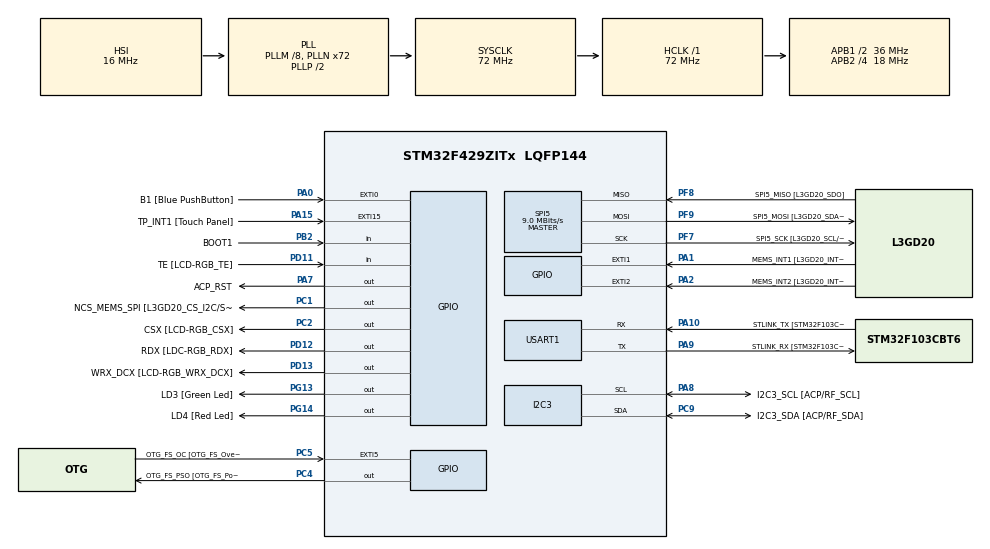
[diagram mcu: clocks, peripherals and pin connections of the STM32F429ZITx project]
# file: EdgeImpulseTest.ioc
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Mcu.Family=STM32F4
Mcu.Name=STM32F429ZITx
Mcu.Package=LQFP144
NVIC.PriorityGroup=NVIC_PRIORITYGROUP_0
NVIC.TIM7_IRQn=true\:0\:0\:false\:false\:true\:true\:true\:true
NVIC.USART1_IRQn=true\:0\:0\:false\:false\:true\:true\:true\:true
PA0/WKUP.GPIO_Label=B1 [Blue PushButton]
PA0/WKUP.GPIO_ModeDefaultEXTI=GPIO_MODE_EVT_RISING
PA0/WKUP.GPIO_PuPd=GPIO_NOPULL
PA0/WKUP.Signal=GPXTI0
PA1.GPIO_Label=MEMS_INT1 [L3GD20_INT1]
PA1.GPIO_ModeDefaultEXTI=GPIO_MODE_EVT_RISING
PA1.GPIO_PuPd=GPIO_NOPULL
PA1.Signal=GPXTI1
PA10.GPIO_Label=STLINK_TX [STM32F103CBT6_PA2]
PA10.Mode=Asynchronous
PA10.Signal=USART1_RX
PA11.GPIO_Label=R4
PA11.GPIO_Mode=GPIO_MODE_AF_PP
PA11.GPIO_PuPd=GPIO_NOPULL
PA11.GPIO_Speed=GPIO_SPEED_FREQ_LOW
PA11.Signal=LTDC_R4
PA12.GPIO_Label=R5
PA12.GPIO_Mode=GPIO_MODE_AF_PP
PA12.GPIO_PuPd=GPIO_NOPULL
PA12.GPIO_Speed=GPIO_SPEED_FREQ_LOW
PA12.Signal=LTDC_R5
PA13.GPIO_Label=SWDIO
PA13.Signal=SYS_JTMS-SWDIO
PA14.GPIO_Label=SWCLK
PA14.Signal=SYS_JTCK-SWCLK
PA15.GPIO_Label=TP_INT1 [Touch Panel]
PA15.GPIO_ModeDefaultEXTI=GPIO_MODE_EVT_RISING
PA15.GPIO_PuPd=GPIO_NOPULL
PA15.Signal=GPXTI15
PA2.GPIO_Label=MEMS_INT2 [L3GD20_INT2]
PA2.GPIO_ModeDefaultEXTI=GPIO_MODE_EVT_RISING
PA2.GPIO_PuPd=GPIO_NOPULL
PA2.Signal=GPXTI2
PA3.GPIO_Label=B5
PA3.GPIO_Mode=GPIO_MODE_AF_PP
PA3.GPIO_PuPd=GPIO_NOPULL
PA3.GPIO_Speed=GPIO_SPEED_FREQ_LOW
PA3.Signal=LTDC_B5
PA4.GPIO_Label=VSYNC
PA4.GPIO_Mode=GPIO_MODE_AF_PP
PA4.GPIO_PuPd=GPIO_NOPULL
PA4.GPIO_Speed=GPIO_SPEED_FREQ_LOW
PA4.Signal=LTDC_VSYNC
PA6.GPIO_Label=G2
PA6.GPIO_Mode=GPIO_MODE_AF_PP
PA6.GPIO_PuPd=GPIO_NOPULL
PA6.GPIO_Speed=GPIO_SPEED_FREQ_LOW
PA6.Signal=LTDC_G2
PA7.GPIO_Label=ACP_RST
PA7.GPIO_Mode=GPIO_MODE_OUTPUT_PP
PA7.GPIO_PuPd=GPIO_NOPULL
PA7.GPIO_Speed=GPIO_SPEED_FREQ_LOW
PA7.Signal=GPIO_Output
PA8.GPIO_Label=I2C3_SCL [ACP/RF_SCL]
PA8.GPIO_Mode=GPIO_MODE_AF_OD
PA8.GPIO_PuPd=GPIO_NOPULL
PA8.GPIO_Speed=GPIO_SPEED_FREQ_LOW
PA8.Mode=I2C
PA8.Signal=I2C3_SCL
PA9.GPIO_Label=STLINK_RX [STM32F103CBT6_PA3]
PA9.Mode=Asynchronous
PA9.Signal=USART1_TX
PB0.GPIO_Label=R3
PB0.GPIO_Mode=GPIO_MODE_AF_PP
PB0.GPIO_PuPd=GPIO_NOPULL
PB0.GPIO_Speed=GPIO_SPEED_FREQ_LOW
PB0.Signal=LTDC_R3
PB1.GPIO_Label=R6
PB1.GPIO_Mode=GPIO_MODE_AF_PP
PB1.GPIO_PuPd=GPIO_NOPULL
PB1.GPIO_Speed=GPIO_SPEED_FREQ_LOW
PB1.Signal=LTDC_R6
PB10.GPIO_Label=G4
PB10.GPIO_Mode=GPIO_MODE_AF_PP
PB10.GPIO_PuPd=GPIO_NOPULL
PB10.GPIO_Speed=GPIO_SPEED_FREQ_LOW
PB10.Signal=LTDC_G4
PB11.GPIO_Label=G5
PB11.GPIO_Mode=GPIO_MODE_AF_PP
PB11.GPIO_PuPd=GPIO_NOPULL
PB11.GPIO_Speed=GPIO_SPEED_FREQ_LOW
PB11.Signal=LTDC_G5
PB12.GPIO_Label=OTG_HS_ID
PB12.GPIO_Mode=GPIO_MODE_AF_PP
PB12.GPIO_PuPd=GPIO_NOPULL
PB12.GPIO_Speed=GPIO_SPEED_FREQ_LOW
PB12.Signal=USB_OTG_HS_ID
PB13.GPIO_Label=VBUS_HS
PB13.GPIO_Mode=GPIO_MODE_INPUT
PB13.GPIO_PuPd=GPIO_NOPULL
PB13.Signal=USB_OTG_HS_VBUS
PB14.GPIO_Label=OTG_HS_DM
PB14.GPIO_Mode=GPIO_MODE_AF_PP
PB14.GPIO_PuPd=GPIO_NOPULL
PB14.GPIO_Speed=GPIO_SPEED_FREQ_LOW
PB14.Signal=USB_OTG_HS_DM
PB15.GPIO_Label=OTG_HS_DP
PB15.GPIO_Mode=GPIO_MODE_AF_PP
PB15.GPIO_PuPd=GPIO_NOPULL
PB15.GPIO_Speed=GPIO_SPEED_FREQ_LOW
PB15.Signal=USB_OTG_HS_DP
PB2/BOOT1.GPIO_Label=BOOT1
PB2/BOOT1.GPIO_Mode=GPIO_MODE_INPUT
PB2/BOOT1.GPIO_PuPd=GPIO_NOPULL
PB2/BOOT1.Signal=GPIO_Input
PB5.GPIO_Label=SDCKE1
PB5.GPIO_Mode=GPIO_MODE_AF_PP
PB5.GPIO_PuPd=GPIO_NOPULL
PB5.GPIO_Speed=GPIO_SPEED_FREQ_VERY_HIGH
PB5.Signal=FMC_SDCKE1
PB6.GPIO_Label=SDNE1 [SDRAM_CS]
PB6.GPIO_Mode=GPIO_MODE_AF_PP
PB6.GPIO_PuPd=GPIO_NOPULL
PB6.GPIO_Speed=GPIO_SPEED_FREQ_VERY_HIGH
PB6.Signal=FMC_SDNE1
PB8.GPIO_Label=B6
PB8.GPIO_Mode=GPIO_MODE_AF_PP
PB8.GPIO_PuPd=GPIO_NOPULL
PB8.GPIO_Speed=GPIO_SPEED_FREQ_LOW
PB8.Signal=LTDC_B6
PB9.GPIO_Label=B7
PB9.GPIO_Mode=GPIO_MODE_AF_PP
PB9.GPIO_PuPd=GPIO_NOPULL
PB9.GPIO_Speed=GPIO_SPEED_FREQ_LOW
PB9.Signal=LTDC_B7
PC0.GPIO_Label=SDNWE
PC0.GPIO_Mode=GPIO_MODE_AF_PP
PC0.GPIO_PuPd=GPIO_NOPULL
PC0.GPIO_Speed=GPIO_SPEED_FREQ_VERY_HIGH
PC0.Signal=FMC_SDNWE
PC1.GPIO_Label=NCS_MEMS_SPI [L3GD20_CS_I2C/SPI]
PC1.GPIO_Mode=GPIO_MODE_OUTPUT_PP
PC1.GPIO_PuPd=GPIO_NOPULL
PC1.GPIO_Speed=GPIO_SPEED_FREQ_LOW
PC1.Signal=GPIO_Output
PC10.GPIO_Label=R2
PC10.GPIO_Mode=GPIO_MODE_AF_PP
PC10.GPIO_PuPd=GPIO_NOPULL
PC10.GPIO_Speed=GPIO_SPEED_FREQ_LOW
PC10.Signal=LTDC_R2
PC14/OSC32_IN.GPIO_Label=PC14-OSC32_IN
PC14/OSC32_IN.Mode=LSE-External-Oscillator
PC14/OSC32_IN.Signal=RCC_OSC32_IN
PC15/OSC32_OUT.GPIO_Label=PC15-OSC32_OUT
PC15/OSC32_OUT.Mode=LSE-External-Oscillator
PC15/OSC32_OUT.Signal=RCC_OSC32_OUT
PC2.GPIO_Label=CSX [LCD-RGB_CSX]
PC2.GPIO_Mode=GPIO_MODE_OUTPUT_PP
PC2.GPIO_PuPd=GPIO_NOPULL
PC2.GPIO_Speed=GPIO_SPEED_FREQ_LOW
PC2.Signal=GPIO_Output
PC4.GPIO_Label=OTG_FS_PSO [OTG_FS_PowerSwitchOn]
PC4.GPIO_Mode=GPIO_MODE_OUTPUT_PP
PC4.GPIO_PuPd=GPIO_NOPULL
PC4.GPIO_Speed=GPIO_SPEED_FREQ_LOW
PC4.Signal=GPIO_Output
PC5.GPIO_Label=OTG_FS_OC [OTG_FS_OverCurrent]
PC5.GPIO_ModeDefaultEXTI=GPIO_MODE_EVT_RISING
PC5.Signal=GPXTI5
PC6.GPIO_Label=HSYNC
PC6.GPIO_Mode=GPIO_MODE_AF_PP
PC6.GPIO_PuPd=GPIO_NOPULL
PC6.GPIO_Speed=GPIO_SPEED_FREQ_LOW
PC6.Signal=LTDC_HSYNC
PC7.GPIO_Label=G6
PC7.GPIO_Mode=GPIO_MODE_AF_PP
PC7.GPIO_PuPd=GPIO_NOPULL
PC7.GPIO_Speed=GPIO_SPEED_FREQ_LOW
PC7.Signal=LTDC_G6
PC9.GPIO_Label=I2C3_SDA [ACP/RF_SDA]
PC9.GPIO_Mode=GPIO_MODE_AF_OD
PC9.GPIO_PuPd=GPIO_NOPULL
PC9.GPIO_Speed=GPIO_SPEED_FREQ_LOW
PC9.Mode=I2C
PC9.Signal=I2C3_SDA
PD0.GPIO_Label=D2
PD0.GPIO_Mode=GPIO_MODE_AF_PP
PD0.GPIO_PuPd=GPIO_NOPULL
PD0.GPIO_Speed=GPIO_SPEED_FREQ_VERY_HIGH
PD0.Signal=FMC_D2_DA2
PD1.GPIO_Label=D3
PD1.GPIO_Mode=GPIO_MODE_AF_PP
PD1.GPIO_PuPd=GPIO_NOPULL
PD1.GPIO_Speed=GPIO_SPEED_FREQ_VERY_HIGH
PD1.Signal=FMC_D3_DA3
PD10.GPIO_Label=D15
PD10.GPIO_Mode=GPIO_MODE_AF_PP
PD10.GPIO_PuPd=GPIO_NOPULL
PD10.GPIO_Speed=GPIO_SPEED_FREQ_VERY_HIGH
PD10.Signal=FMC_D15_DA15
PD11.GPIO_Label=TE [LCD-RGB_TE]
PD11.GPIO_Mode=GPIO_MODE_INPUT
PD11.GPIO_PuPd=GPIO_NOPULL
PD11.Signal=GPIO_Input
PD12.GPIO_Label=RDX [LDC-RGB_RDX]
PD12.GPIO_Mode=GPIO_MODE_OUTPUT_PP
PD12.GPIO_PuPd=GPIO_NOPULL
PD12.GPIO_Speed=GPIO_SPEED_FREQ_LOW
PD12.Signal=GPIO_Output
PD13.GPIO_Label=WRX_DCX [LCD-RGB_WRX_DCX]
PD13.GPIO_Mode=GPIO_MODE_OUTPUT_PP
PD13.GPIO_PuPd=GPIO_NOPULL
PD13.GPIO_Speed=GPIO_SPEED_FREQ_LOW
PD13.Signal=GPIO_Output
PD14.GPIO_Label=D0
PD14.GPIO_Mode=GPIO_MODE_AF_PP
PD14.GPIO_PuPd=GPIO_NOPULL
PD14.GPIO_Speed=GPIO_SPEED_FREQ_VERY_HIGH
PD14.Signal=FMC_D0_DA0
PD15.GPIO_Label=D1
PD15.GPIO_Mode=GPIO_MODE_AF_PP
PD15.GPIO_PuPd=GPIO_NOPULL
PD15.GPIO_Speed=GPIO_SPEED_FREQ_VERY_HIGH
PD15.Signal=FMC_D1_DA1
PD3.GPIO_Label=G7
PD3.GPIO_Mode=GPIO_MODE_AF_PP
PD3.GPIO_PuPd=GPIO_NOPULL
PD3.GPIO_Speed=GPIO_SPEED_FREQ_LOW
PD3.Signal=LTDC_G7
PD6.GPIO_Label=B2
PD6.GPIO_Mode=GPIO_MODE_AF_PP
PD6.GPIO_PuPd=GPIO_NOPULL
PD6.GPIO_Speed=GPIO_SPEED_FREQ_LOW
PD6.Signal=LTDC_B2
PD8.GPIO_Label=D13
PD8.GPIO_Mode=GPIO_MODE_AF_PP
PD8.GPIO_PuPd=GPIO_NOPULL
PD8.GPIO_Speed=GPIO_SPEED_FREQ_VERY_HIGH
PD8.Signal=FMC_D13_DA13
PD9.GPIO_Label=D14
PD9.GPIO_Mode=GPIO_MODE_AF_PP
PD9.GPIO_PuPd=GPIO_NOPULL
PD9.GPIO_Speed=GPIO_SPEED_FREQ_VERY_HIGH
PD9.Signal=FMC_D14_DA14
PE0.GPIO_Label=NBL0 [SDRAM_LDQM]
PE0.GPIO_Mode=GPIO_MODE_AF_PP
PE0.GPIO_PuPd=GPIO_NOPULL
PE0.GPIO_Speed=GPIO_SPEED_FREQ_VERY_HIGH
PE0.Signal=FMC_NBL0
PE1.GPIO_Label=NBL1 [SDRAM_UDQM]
PE1.GPIO_Mode=GPIO_MODE_AF_PP
PE1.GPIO_PuPd=GPIO_NOPULL
PE1.GPIO_Speed=GPIO_SPEED_FREQ_VERY_HIGH
PE1.Signal=FMC_NBL1
PE10.GPIO_Label=D7
PE10.GPIO_Mode=GPIO_MODE_AF_PP
PE10.GPIO_PuPd=GPIO_NOPULL
PE10.GPIO_Speed=GPIO_SPEED_FREQ_VERY_HIGH
PE10.Signal=FMC_D7_DA7
PE11.GPIO_Label=D8
PE11.GPIO_Mode=GPIO_MODE_AF_PP
PE11.GPIO_PuPd=GPIO_NOPULL
PE11.GPIO_Speed=GPIO_SPEED_FREQ_VERY_HIGH
PE11.Signal=FMC_D8_DA8
PE12.GPIO_Label=D9
PE12.GPIO_Mode=GPIO_MODE_AF_PP
PE12.GPIO_PuPd=GPIO_NOPULL
PE12.GPIO_Speed=GPIO_SPEED_FREQ_VERY_HIGH
PE12.Signal=FMC_D9_DA9
PE13.GPIO_Label=D10
PE13.GPIO_Mode=GPIO_MODE_AF_PP
PE13.GPIO_PuPd=GPIO_NOPULL
PE13.GPIO_Speed=GPIO_SPEED_FREQ_VERY_HIGH
PE13.Signal=FMC_D10_DA10
PE14.GPIO_Label=D11
PE14.GPIO_Mode=GPIO_MODE_AF_PP
PE14.GPIO_PuPd=GPIO_NOPULL
PE14.GPIO_Speed=GPIO_SPEED_FREQ_VERY_HIGH
PE14.Signal=FMC_D11_DA11
PE15.GPIO_Label=D12
PE15.GPIO_Mode=GPIO_MODE_AF_PP
PE15.GPIO_PuPd=GPIO_NOPULL
PE15.GPIO_Speed=GPIO_SPEED_FREQ_VERY_HIGH
PE15.Signal=FMC_D12_DA12
PE7.GPIO_Label=D4
PE7.GPIO_Mode=GPIO_MODE_AF_PP
PE7.GPIO_PuPd=GPIO_NOPULL
PE7.GPIO_Speed=GPIO_SPEED_FREQ_VERY_HIGH
PE7.Signal=FMC_D4_DA4
PE8.GPIO_Label=D5
PE8.GPIO_Mode=GPIO_MODE_AF_PP
PE8.GPIO_PuPd=GPIO_NOPULL
PE8.GPIO_Speed=GPIO_SPEED_FREQ_VERY_HIGH
PE8.Signal=FMC_D5_DA5
PE9.GPIO_Label=D6
PE9.GPIO_Mode=GPIO_MODE_AF_PP
PE9.GPIO_PuPd=GPIO_NOPULL
PE9.GPIO_Speed=GPIO_SPEED_FREQ_VERY_HIGH
PE9.Signal=FMC_D6_DA6
PF0.GPIO_Label=A0
PF0.GPIO_Mode=GPIO_MODE_AF_PP
PF0.GPIO_PuPd=GPIO_NOPULL
PF0.GPIO_Speed=GPIO_SPEED_FREQ_VERY_HIGH
PF0.Signal=FMC_A0
PF1.GPIO_Label=A1
PF1.GPIO_Mode=GPIO_MODE_AF_PP
PF1.GPIO_PuPd=GPIO_NOPULL
PF1.GPIO_Speed=GPIO_SPEED_FREQ_VERY_HIGH
PF1.Signal=FMC_A1
PF10.GPIO_Label=ENABLE [LCD-RGB_ENABLE]
PF10.GPIO_Mode=GPIO_MODE_AF_PP
PF10.GPIO_PuPd=GPIO_NOPULL
PF10.GPIO_Speed=GPIO_SPEED_FREQ_LOW
PF10.Signal=LTDC_DE
PF11.GPIO_Label=SDNRAS
PF11.GPIO_Mode=GPIO_MODE_AF_PP
PF11.GPIO_PuPd=GPIO_NOPULL
PF11.GPIO_Speed=GPIO_SPEED_FREQ_VERY_HIGH
PF11.Signal=FMC_SDNRAS
PF12.GPIO_Label=A6
PF12.GPIO_Mode=GPIO_MODE_AF_PP
PF12.GPIO_PuPd=GPIO_NOPULL
PF12.GPIO_Speed=GPIO_SPEED_FREQ_VERY_HIGH
PF12.Signal=FMC_A6
PF13.GPIO_Label=A7
PF13.GPIO_Mode=GPIO_MODE_AF_PP
PF13.GPIO_PuPd=GPIO_NOPULL
PF13.GPIO_Speed=GPIO_SPEED_FREQ_VERY_HIGH
PF13.Signal=FMC_A7
PF14.GPIO_Label=A8
PF14.GPIO_Mode=GPIO_MODE_AF_PP
PF14.GPIO_PuPd=GPIO_NOPULL
PF14.GPIO_Speed=GPIO_SPEED_FREQ_VERY_HIGH
PF14.Signal=FMC_A8
PF15.GPIO_Label=A9
PF15.GPIO_Mode=GPIO_MODE_AF_PP
PF15.GPIO_PuPd=GPIO_NOPULL
PF15.GPIO_Speed=GPIO_SPEED_FREQ_VERY_HIGH
PF15.Signal=FMC_A9
PF2.GPIO_Label=A2
PF2.GPIO_Mode=GPIO_MODE_AF_PP
PF2.GPIO_PuPd=GPIO_NOPULL
PF2.GPIO_Speed=GPIO_SPEED_FREQ_VERY_HIGH
PF2.Signal=FMC_A2
PF3.GPIO_Label=A3
PF3.GPIO_Mode=GPIO_MODE_AF_PP
PF3.GPIO_PuPd=GPIO_NOPULL
PF3.GPIO_Speed=GPIO_SPEED_FREQ_VERY_HIGH
PF3.Signal=FMC_A3
PF4.GPIO_Label=A4
PF4.GPIO_Mode=GPIO_MODE_AF_PP
PF4.GPIO_PuPd=GPIO_NOPULL
PF4.GPIO_Speed=GPIO_SPEED_FREQ_VERY_HIGH
PF4.Signal=FMC_A4
PF5.GPIO_Label=A5
PF5.GPIO_Mode=GPIO_MODE_AF_PP
PF5.GPIO_PuPd=GPIO_NOPULL
PF5.GPIO_Speed=GPIO_SPEED_FREQ_VERY_HIGH
PF5.Signal=FMC_A5
PF7.GPIO_Label=SPI5_SCK [L3GD20_SCL/SPC]
PF7.GPIO_Mode=GPIO_MODE_AF_PP
PF7.GPIO_PuPd=GPIO_NOPULL
PF7.GPIO_Speed=GPIO_SPEED_FREQ_LOW
PF7.Mode=Full_Duplex_Master
PF7.Signal=SPI5_SCK
PF8.GPIO_Label=SPI5_MISO [L3GD20_SDO]
PF8.GPIO_Mode=GPIO_MODE_AF_PP
PF8.GPIO_PuPd=GPIO_NOPULL
PF8.GPIO_Speed=GPIO_SPEED_FREQ_LOW
PF8.Mode=Full_Duplex_Master
PF8.Signal=SPI5_MISO
PF9.GPIO_Label=SPI5_MOSI [L3GD20_SDA/SDI/SDO]
PF9.GPIO_Mode=GPIO_MODE_AF_PP
PF9.GPIO_PuPd=GPIO_NOPULL
PF9.GPIO_Speed=GPIO_SPEED_FREQ_LOW
PF9.Mode=Full_Duplex_Master
PF9.Signal=SPI5_MOSI
PG0.GPIO_Label=A10
PG0.GPIO_Mode=GPIO_MODE_AF_PP
PG0.GPIO_PuPd=GPIO_NOPULL
PG0.GPIO_Speed=GPIO_SPEED_FREQ_VERY_HIGH
PG0.Signal=FMC_A10
PG1.GPIO_Label=A11
PG1.GPIO_Mode=GPIO_MODE_AF_PP
PG1.GPIO_PuPd=GPIO_NOPULL
PG1.GPIO_Speed=GPIO_SPEED_FREQ_VERY_HIGH
PG1.Signal=FMC_A11
PG10.GPIO_Label=G3
PG10.GPIO_Mode=GPIO_MODE_AF_PP
PG10.GPIO_PuPd=GPIO_NOPULL
PG10.GPIO_Speed=GPIO_SPEED_FREQ_LOW
PG10.Signal=LTDC_G3
PG11.GPIO_Label=B3
PG11.GPIO_Mode=GPIO_MODE_AF_PP
PG11.GPIO_PuPd=GPIO_NOPULL
PG11.GPIO_Speed=GPIO_SPEED_FREQ_LOW
PG11.Signal=LTDC_B3
PG12.GPIO_Label=B4
PG12.GPIO_Mode=GPIO_MODE_AF_PP
PG12.GPIO_PuPd=GPIO_NOPULL
PG12.GPIO_Speed=GPIO_SPEED_FREQ_LOW
PG12.Signal=LTDC_B4
PG13.GPIO_Label=LD3 [Green Led]
PG13.GPIO_Mode=GPIO_MODE_OUTPUT_PP
PG13.GPIO_PuPd=GPIO_NOPULL
PG13.GPIO_Speed=GPIO_SPEED_FREQ_LOW
PG13.Signal=GPIO_Output
PG14.GPIO_Label=LD4 [Red Led]
PG14.GPIO_Mode=GPIO_MODE_OUTPUT_PP
PG14.GPIO_PuPd=GPIO_NOPULL
PG14.GPIO_Speed=GPIO_SPEED_FREQ_LOW
PG14.Signal=GPIO_Output
PG15.GPIO_Label=SDNCAS
PG15.GPIO_Mode=GPIO_MODE_AF_PP
PG15.GPIO_PuPd=GPIO_NOPULL
PG15.GPIO_Speed=GPIO_SPEED_FREQ_VERY_HIGH
PG15.Signal=FMC_SDNCAS
PG4.GPIO_Label=BA0
PG4.GPIO_Mode=GPIO_MODE_AF_PP
PG4.GPIO_PuPd=GPIO_NOPULL
PG4.GPIO_Speed=GPIO_SPEED_FREQ_VERY_HIGH
PG4.Signal=FMC_A14_BA0
PG5.GPIO_Label=BA1
PG5.GPIO_Mode=GPIO_MODE_AF_PP
PG5.GPIO_PuPd=GPIO_NOPULL
PG5.GPIO_Speed=GPIO_SPEED_FREQ_VERY_HIGH
PG5.Signal=FMC_A15_BA1
PG6.GPIO_Label=R7
PG6.GPIO_Mode=GPIO_MODE_AF_PP
PG6.GPIO_PuPd=GPIO_NOPULL
PG6.GPIO_Speed=GPIO_SPEED_FREQ_LOW
PG6.Signal=LTDC_R7
PG7.GPIO_Label=DOTCLK [LCT-RGB_DOTCLK]
PG7.GPIO_Mode=GPIO_MODE_AF_PP
PG7.GPIO_PuPd=GPIO_NOPULL
PG7.GPIO_Speed=GPIO_SPEED_FREQ_LOW
PG7.Signal=LTDC_CLK
PG8.GPIO_Label=SDCLK
PG8.GPIO_Mode=GPIO_MODE_AF_PP
PG8.GPIO_PuPd=GPIO_NOPULL
PG8.GPIO_Speed=GPIO_SPEED_FREQ_VERY_HIGH
PG8.Signal=FMC_SDCLK
PH0/OSC_IN.GPIO_Label=PH0-OSC_IN
PH0/OSC_IN.Mode=HSE-External-Oscillator
PH0/OSC_IN.Signal=RCC_OSC_IN
PH1/OSC_OUT.GPIO_Label=PH1-OSC_OUT
PH1/OSC_OUT.Mode=HSE-External-Oscillator
PH1/OSC_OUT.Signal=RCC_OSC_OUT
ProjectManager.HeapSize=0x200
ProjectManager.StackSize=0x400
ProjectManager.TargetToolchain=STM32CubeIDE
RCC.48MHZClocksFreq_Value=20571428.57142857
RCC.AHBFreq_Value=72000000
RCC.APB1CLKDivider=RCC_HCLK_DIV2
RCC.APB1Freq_Value=36000000
RCC.APB1TimFreq_Value=72000000
RCC.APB2CLKDivider=RCC_HCLK_DIV4
RCC.APB2Freq_Value=18000000
RCC.APB2TimFreq_Value=36000000
RCC.CortexFreq_Value=72000000
RCC.HCLKFreq_Value=72000000
RCC.HSE_VALUE=8000000
RCC.HSI_VALUE=16000000
RCC.PLLM=8
RCC.PLLN=72
RCC.PLLQ=7
RCC.SYSCLKFreq_VALUE=72000000
RCC.SYSCLKSource=RCC_SYSCLKSOURCE_PLLCLK
RCC.VCOOutputFreq_Value=144000000
SH.FMC_A0.0=FMC_A0
SH.FMC_A1.0=FMC_A1
SH.FMC_A10.0=FMC_A10
SH.FMC_A11.0=FMC_A11
SH.FMC_A14_BA0.0=FMC_BA0
SH.FMC_A15_BA1.0=FMC_BA1
SH.FMC_A2.0=FMC_A2
SH.FMC_A3.0=FMC_A3
SH.FMC_A4.0=FMC_A4
SH.FMC_A5.0=FMC_A5
SH.FMC_A6.0=FMC_A6
SH.FMC_A7.0=FMC_A7
SH.FMC_A8.0=FMC_A8
SH.FMC_A9.0=FMC_A9
SH.FMC_D0_DA0.0=FMC_D0
SH.FMC_D10_DA10.0=FMC_D10
SH.FMC_D11_DA11.0=FMC_D11
SH.FMC_D12_DA12.0=FMC_D12
SH.FMC_D13_DA13.0=FMC_D13
SH.FMC_D14_DA14.0=FMC_D14
SH.FMC_D15_DA15.0=FMC_D15
SH.FMC_D1_DA1.0=FMC_D1
SH.FMC_D2_DA2.0=FMC_D2
SH.FMC_D3_DA3.0=FMC_D3
SH.FMC_D4_DA4.0=FMC_D4
SH.FMC_D5_DA5.0=FMC_D5
SH.FMC_D6_DA6.0=FMC_D6
SH.FMC_D7_DA7.0=FMC_D7
SH.FMC_D8_DA8.0=FMC_D8
SH.FMC_D9_DA9.0=FMC_D9
SH.FMC_NBL0.0=FMC_NBL0
SH.FMC_NBL1.0=FMC_NBL1
SH.FMC_SDCLK.0=FMC_SDCLK
SH.FMC_SDNCAS.0=FMC_SDNCAS
SH.FMC_SDNRAS.0=FMC_SDNRAS
SH.FMC_SDNWE.0=FMC_SDNWE
SPI5.CalculateBaudRate=9.0 MBits/s
SPI5.Direction=SPI_DIRECTION_2LINES
SPI5.Mode=SPI_MODE_MASTER
SPI5.VirtualType=VM_MASTER
TIM7.Period=7200
TIM7.Prescaler=101-1
USART1.VirtualMode=VM_ASYNC
VP_TIM7_VS_ClockSourceINT.Mode=Enable_Timer
board=STM32F429I-DISC1

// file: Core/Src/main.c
/* USER CODE BEGIN Header */
/**
  ******************************************************************************
  * @file           : main.c
  * @brief          : Main program body
  ******************************************************************************
  * @attention
  *
  * Copyright (c) 2022 STMicroelectronics.
  * All rights reserved.
  *
  * This software is licensed under terms that can be found in the LICENSE file
  * in the root directory of this software component.
  * If no LICENSE file comes with this software, it is provided AS-IS.
  *
  ******************************************************************************
  */
/* USER CODE END Header */
#include "main.h"

/* USER CODE BEGIN Includes */
#include "retarget.h"
#include "stm32f4xx_hal.h"
#include "accel_LIS3DH_driver.h"
#include "gyro_I3G450D_driver.h"
/* USER CODE END Includes */

 I2C_HandleTypeDef hi2c3;

SPI_HandleTypeDef hspi5;

TIM_HandleTypeDef htim7;

UART_HandleTypeDef huart1;

void SystemClock_Config(void);
static void MX_GPIO_Init(void);
static void MX_USART1_UART_Init(void);
static void MX_I2C3_Init(void);
static void MX_SPI5_Init(void);
static void MX_TIM7_Init(void);

/* USER CODE BEGIN 0 */
int sampleAccelFlag = 0;
/* USER CODE END 0 */

int main(void)
{

  /* MCU Configuration--------------------------------------------------------*/

  /* Reset of all peripherals, Initializes the Flash interface and the Systick. */
  HAL_Init();

  /* Configure the system clock */
  SystemClock_Config();

  /* Initialize all configured peripherals */
  MX_GPIO_Init();
  MX_USART1_UART_Init();
  MX_I2C3_Init();
  MX_SPI5_Init();
  MX_TIM7_Init();
  /* USER CODE BEGIN 2 */
  RetargetInit(&huart1);
  I3G450D_Init(&hspi5);
  Lis3dhInit(&hi2c3);

  if (HAL_TIM_Base_Start_IT(&htim7) != HAL_OK)
    {
      /* Counter Enable Error */
      Error_Handler();
    }
  /* USER CODE END 2 */

  /* Infinite loop */
  while (1)
  {

    /* USER CODE BEGIN 3 */
	  if(sampleAccelFlag){
		Lis3dhGetAcc();
		int16_t acelX,acelY,acelZ;
		AccelGetData(&acelX, &acelY, &acelZ);
		printf("%d,%d,%d \n",acelX,acelY,acelZ);
		sampleAccelFlag = 0;
	  }
  }
  /* USER CODE END 3 */
}

void SystemClock_Config(void)
{
  RCC_OscInitTypeDef RCC_OscInitStruct = {0};
  RCC_ClkInitTypeDef RCC_ClkInitStruct = {0};

  /** Configure the main internal regulator output voltage
  */
  __HAL_RCC_PWR_CLK_ENABLE();
  __HAL_PWR_VOLTAGESCALING_CONFIG(PWR_REGULATOR_VOLTAGE_SCALE3);

  /** Initializes the RCC Oscillators according to the specified parameters
  * in the RCC_OscInitTypeDef structure.
  */
  RCC_OscInitStruct.OscillatorType = RCC_OSCILLATORTYPE_HSI;
  RCC_OscInitStruct.HSIState = RCC_HSI_ON;
  RCC_OscInitStruct.HSICalibrationValue = RCC_HSICALIBRATION_DEFAULT;
  RCC_OscInitStruct.PLL.PLLState = RCC_PLL_ON;
  RCC_OscInitStruct.PLL.PLLSource = RCC_PLLSOURCE_HSI;
  RCC_OscInitStruct.PLL.PLLM = 8;
  RCC_OscInitStruct.PLL.PLLN = 72;
  RCC_OscInitStruct.PLL.PLLP = RCC_PLLP_DIV2;
  RCC_OscInitStruct.PLL.PLLQ = 7;
  if (HAL_RCC_OscConfig(&RCC_OscInitStruct) != HAL_OK)
  {
    Error_Handler();
  }

  /** Initializes the CPU, AHB and APB buses clocks
  */
  RCC_ClkInitStruct.ClockType = RCC_CLOCKTYPE_HCLK|RCC_CLOCKTYPE_SYSCLK
                              |RCC_CLOCKTYPE_PCLK1|RCC_CLOCKTYPE_PCLK2;
  RCC_ClkInitStruct.SYSCLKSource = RCC_SYSCLKSOURCE_PLLCLK;
  RCC_ClkInitStruct.AHBCLKDivider = RCC_SYSCLK_DIV1;
  RCC_ClkInitStruct.APB1CLKDivider = RCC_HCLK_DIV2;
  RCC_ClkInitStruct.APB2CLKDivider = RCC_HCLK_DIV4;

  if (HAL_RCC_ClockConfig(&RCC_ClkInitStruct, FLASH_LATENCY_2) != HAL_OK)
  {
    Error_Handler();
  }
}

static void MX_I2C3_Init(void)
{

  hi2c3.Instance = I2C3;
  hi2c3.Init.ClockSpeed = 100000;
  hi2c3.Init.DutyCycle = I2C_DUTYCYCLE_2;
  hi2c3.Init.OwnAddress1 = 0;
  hi2c3.Init.AddressingMode = I2C_ADDRESSINGMODE_7BIT;
  hi2c3.Init.DualAddressMode = I2C_DUALADDRESS_DISABLE;
  hi2c3.Init.OwnAddress2 = 0;
  hi2c3.Init.GeneralCallMode = I2C_GENERALCALL_DISABLE;
  hi2c3.Init.NoStretchMode = I2C_NOSTRETCH_DISABLE;
  if (HAL_I2C_Init(&hi2c3) != HAL_OK)
  {
    Error_Handler();
  }

  /** Configure Analogue filter
  */
  if (HAL_I2CEx_ConfigAnalogFilter(&hi2c3, I2C_ANALOGFILTER_ENABLE) != HAL_OK)
  {
    Error_Handler();
  }

  /** Configure Digital filter
  */
  if (HAL_I2CEx_ConfigDigitalFilter(&hi2c3, 0) != HAL_OK)
  {
    Error_Handler();
  }

}

static void MX_SPI5_Init(void)
{

  /* SPI5 parameter configuration*/
  hspi5.Instance = SPI5;
  hspi5.Init.Mode = SPI_MODE_MASTER;
  hspi5.Init.Direction = SPI_DIRECTION_2LINES;
  hspi5.Init.DataSize = SPI_DATASIZE_8BIT;
  hspi5.Init.CLKPolarity = SPI_POLARITY_LOW;
  hspi5.Init.CLKPhase = SPI_PHASE_1EDGE;
  hspi5.Init.NSS = SPI_NSS_SOFT;
  hspi5.Init.BaudRatePrescaler = SPI_BAUDRATEPRESCALER_2;
  hspi5.Init.FirstBit = SPI_FIRSTBIT_MSB;
  hspi5.Init.TIMode = SPI_TIMODE_DISABLE;
  hspi5.Init.CRCCalculation = SPI_CRCCALCULATION_DISABLE;
  hspi5.Init.CRCPolynomial = 10;
  if (HAL_SPI_Init(&hspi5) != HAL_OK)
  {
    Error_Handler();
  }

}

static void MX_TIM7_Init(void)
{

  TIM_MasterConfigTypeDef sMasterConfig = {0};

  htim7.Instance = TIM7;
  htim7.Init.Prescaler = 101-1;
  htim7.Init.CounterMode = TIM_COUNTERMODE_UP;
  htim7.Init.Period = 7200;
  htim7.Init.AutoReloadPreload = TIM_AUTORELOAD_PRELOAD_DISABLE;
  if (HAL_TIM_Base_Init(&htim7) != HAL_OK)
  {
    Error_Handler();
  }
  sMasterConfig.MasterOutputTrigger = TIM_TRGO_RESET;
  sMasterConfig.MasterSlaveMode = TIM_MASTERSLAVEMODE_DISABLE;
  if (HAL_TIMEx_MasterConfigSynchronization(&htim7, &sMasterConfig) != HAL_OK)
  {
    Error_Handler();
  }

}

static void MX_USART1_UART_Init(void)
{

  huart1.Instance = USART1;
  huart1.Init.BaudRate = 115200;
  huart1.Init.WordLength = UART_WORDLENGTH_8B;
  huart1.Init.StopBits = UART_STOPBITS_1;
  huart1.Init.Parity = UART_PARITY_NONE;
  huart1.Init.Mode = UART_MODE_TX_RX;
  huart1.Init.HwFlowCtl = UART_HWCONTROL_NONE;
  huart1.Init.OverSampling = UART_OVERSAMPLING_16;
  if (HAL_UART_Init(&huart1) != HAL_OK)
  {
    Error_Handler();
  }

}

static void MX_GPIO_Init(void)
{
  GPIO_InitTypeDef GPIO_InitStruct = {0};

  /* GPIO Ports Clock Enable */
  __HAL_RCC_GPIOC_CLK_ENABLE();
  __HAL_RCC_GPIOF_CLK_ENABLE();
  __HAL_RCC_GPIOH_CLK_ENABLE();
  __HAL_RCC_GPIOA_CLK_ENABLE();
  __HAL_RCC_GPIOB_CLK_ENABLE();
  __HAL_RCC_GPIOG_CLK_ENABLE();
  __HAL_RCC_GPIOE_CLK_ENABLE();
  __HAL_RCC_GPIOD_CLK_ENABLE();

  /*Configure GPIO pin Output Level */
  HAL_GPIO_WritePin(GPIOC, NCS_MEMS_SPI_Pin|CSX_Pin|OTG_FS_PSO_Pin, GPIO_PIN_RESET);

  /*Configure GPIO pin Output Level */
  HAL_GPIO_WritePin(ACP_RST_GPIO_Port, ACP_RST_Pin, GPIO_PIN_RESET);

  /*Configure GPIO pin Output Level */
  HAL_GPIO_WritePin(GPIOD, RDX_Pin|WRX_DCX_Pin, GPIO_PIN_RESET);

  /*Configure GPIO pin Output Level */
  HAL_GPIO_WritePin(GPIOG, LD3_Pin|LD4_Pin, GPIO_PIN_RESET);

  /*Configure GPIO pins : A0_Pin A1_Pin A2_Pin A3_Pin
                           A4_Pin A5_Pin SDNRAS_Pin A6_Pin
                           A7_Pin A8_Pin A9_Pin */
  GPIO_InitStruct.Pin = A0_Pin|A1_Pin|A2_Pin|A3_Pin
                          |A4_Pin|A5_Pin|SDNRAS_Pin|A6_Pin
                          |A7_Pin|A8_Pin|A9_Pin;
  GPIO_InitStruct.Mode = GPIO_MODE_AF_PP;
  GPIO_InitStruct.Pull = GPIO_NOPULL;
  GPIO_InitStruct.Speed = GPIO_SPEED_FREQ_VERY_HIGH;
  GPIO_InitStruct.Alternate = GPIO_AF12_FMC;
  HAL_GPIO_Init(GPIOF, &GPIO_InitStruct);

  /*Configure GPIO pin : ENABLE_Pin */
  GPIO_InitStruct.Pin = ENABLE_Pin;
  GPIO_InitStruct.Mode = GPIO_MODE_AF_PP;
  GPIO_InitStruct.Pull = GPIO_NOPULL;
  GPIO_InitStruct.Speed = GPIO_SPEED_FREQ_LOW;
  GPIO_InitStruct.Alternate = GPIO_AF14_LTDC;
  HAL_GPIO_Init(ENABLE_GPIO_Port, &GPIO_InitStruct);

  /*Configure GPIO pin : SDNWE_Pin */
  GPIO_InitStruct.Pin = SDNWE_Pin;
  GPIO_InitStruct.Mode = GPIO_MODE_AF_PP;
  GPIO_InitStruct.Pull = GPIO_NOPULL;
  GPIO_InitStruct.Speed = GPIO_SPEED_FREQ_VERY_HIGH;
  GPIO_InitStruct.Alternate = GPIO_AF12_FMC;
  HAL_GPIO_Init(SDNWE_GPIO_Port, &GPIO_InitStruct);

  /*Configure GPIO pins : NCS_MEMS_SPI_Pin CSX_Pin OTG_FS_PSO_Pin */
  GPIO_InitStruct.Pin = NCS_MEMS_SPI_Pin|CSX_Pin|OTG_FS_PSO_Pin;
  GPIO_InitStruct.Mode = GPIO_MODE_OUTPUT_PP;
  GPIO_InitStruct.Pull = GPIO_NOPULL;
  GPIO_InitStruct.Speed = GPIO_SPEED_FREQ_LOW;
  HAL_GPIO_Init(GPIOC, &GPIO_InitStruct);

  /*Configure GPIO pins : B1_Pin MEMS_INT1_Pin MEMS_INT2_Pin TP_INT1_Pin */
  GPIO_InitStruct.Pin = B1_Pin|MEMS_INT1_Pin|MEMS_INT2_Pin|TP_INT1_Pin;
  GPIO_InitStruct.Mode = GPIO_MODE_EVT_RISING;
  GPIO_InitStruct.Pull = GPIO_NOPULL;
  HAL_GPIO_Init(GPIOA, &GPIO_InitStruct);

  /*Configure GPIO pins : B5_Pin VSYNC_Pin G2_Pin R4_Pin
                           R5_Pin */
  GPIO_InitStruct.Pin = B5_Pin|VSYNC_Pin|G2_Pin|R4_Pin
                          |R5_Pin;
  GPIO_InitStruct.Mode = GPIO_MODE_AF_PP;
  GPIO_InitStruct.Pull = GPIO_NOPULL;
  GPIO_InitStruct.Speed = GPIO_SPEED_FREQ_LOW;
  GPIO_InitStruct.Alternate = GPIO_AF14_LTDC;
  HAL_GPIO_Init(GPIOA, &GPIO_InitStruct);

  /*Configure GPIO pin : ACP_RST_Pin */
  GPIO_InitStruct.Pin = ACP_RST_Pin;
  GPIO_InitStruct.Mode = GPIO_MODE_OUTPUT_PP;
  GPIO_InitStruct.Pull = GPIO_NOPULL;
  GPIO_InitStruct.Speed = GPIO_SPEED_FREQ_LOW;
  HAL_GPIO_Init(ACP_RST_GPIO_Port, &GPIO_InitStruct);

  /*Configure GPIO pin : OTG_FS_OC_Pin */
  GPIO_InitStruct.Pin = OTG_FS_OC_Pin;
  GPIO_InitStruct.Mode = GPIO_MODE_EVT_RISING;
  GPIO_InitStruct.Pull = GPIO_NOPULL;
  HAL_GPIO_Init(OTG_FS_OC_GPIO_Port, &GPIO_InitStruct);

  /*Configure GPIO pins : R3_Pin R6_Pin */
  GPIO_InitStruct.Pin = R3_Pin|R6_Pin;
  GPIO_InitStruct.Mode = GPIO_MODE_AF_PP;
  GPIO_InitStruct.Pull = GPIO_NOPULL;
  GPIO_InitStruct.Speed = GPIO_SPEED_FREQ_LOW;
  GPIO_InitStruct.Alternate = GPIO_AF9_LTDC;
  HAL_GPIO_Init(GPIOB, &GPIO_InitStruct);

  /*Configure GPIO pin : BOOT1_Pin */
  GPIO_InitStruct.Pin = BOOT1_Pin;
  GPIO_InitStruct.Mode = GPIO_MODE_INPUT;
  GPIO_InitStruct.Pull = GPIO_NOPULL;
  HAL_GPIO_Init(BOOT1_GPIO_Port, &GPIO_InitStruct);

  /*Configure GPIO pins : A10_Pin A11_Pin BA0_Pin BA1_Pin
                           SDCLK_Pin SDNCAS_Pin */
  GPIO_InitStruct.Pin = A10_Pin|A11_Pin|BA0_Pin|BA1_Pin
                          |SDCLK_Pin|SDNCAS_Pin;
  GPIO_InitStruct.Mode = GPIO_MODE_AF_PP;
  GPIO_InitStruct.Pull = GPIO_NOPULL;
  GPIO_InitStruct.Speed = GPIO_SPEED_FREQ_VERY_HIGH;
  GPIO_InitStruct.Alternate = GPIO_AF12_FMC;
  HAL_GPIO_Init(GPIOG, &GPIO_InitStruct);

  /*Configure GPIO pins : D4_Pin D5_Pin D6_Pin D7_Pin
                           D8_Pin D9_Pin D10_Pin D11_Pin
                           D12_Pin NBL0_Pin NBL1_Pin */
  GPIO_InitStruct.Pin = D4_Pin|D5_Pin|D6_Pin|D7_Pin
                          |D8_Pin|D9_Pin|D10_Pin|D11_Pin
                          |D12_Pin|NBL0_Pin|NBL1_Pin;
  GPIO_InitStruct.Mode = GPIO_MODE_AF_PP;
  GPIO_InitStruct.Pull = GPIO_NOPULL;
  GPIO_InitStruct.Speed = GPIO_SPEED_FREQ_VERY_HIGH;
  GPIO_InitStruct.Alternate = GPIO_AF12_FMC;
  HAL_GPIO_Init(GPIOE, &GPIO_InitStruct);

  /*Configure GPIO pins : G4_Pin G5_Pin B6_Pin B7_Pin */
  GPIO_InitStruct.Pin = G4_Pin|G5_Pin|B6_Pin|B7_Pin;
  GPIO_InitStruct.Mode = GPIO_MODE_AF_PP;
  GPIO_InitStruct.Pull = GPIO_NOPULL;
  GPIO_InitStruct.Speed = GPIO_SPEED_FREQ_LOW;
  GPIO_InitStruct.Alternate = GPIO_AF14_LTDC;
  HAL_GPIO_Init(GPIOB, &GPIO_InitStruct);

  /*Configure GPIO pins : OTG_HS_ID_Pin OTG_HS_DM_Pin OTG_HS_DP_Pin */
  GPIO_InitStruct.Pin = OTG_HS_ID_Pin|OTG_HS_DM_Pin|OTG_HS_DP_Pin;
  GPIO_InitStruct.Mode = GPIO_MODE_AF_PP;
  GPIO_InitStruct.Pull = GPIO_NOPULL;
  GPIO_InitStruct.Speed = GPIO_SPEED_FREQ_LOW;
  GPIO_InitStruct.Alternate = GPIO_AF12_OTG_HS_FS;
  HAL_GPIO_Init(GPIOB, &GPIO_InitStruct);

  /*Configure GPIO pin : VBUS_HS_Pin */
  GPIO_InitStruct.Pin = VBUS_HS_Pin;
  GPIO_InitStruct.Mode = GPIO_MODE_INPUT;
  GPIO_InitStruct.Pull = GPIO_NOPULL;
  HAL_GPIO_Init(VBUS_HS_GPIO_Port, &GPIO_InitStruct);

  /*Configure GPIO pins : D13_Pin D14_Pin D15_Pin D0_Pin
                           D1_Pin D2_Pin D3_Pin */
  GPIO_InitStruct.Pin = D13_Pin|D14_Pin|D15_Pin|D0_Pin
                          |D1_Pin|D2_Pin|D3_Pin;
  GPIO_InitStruct.Mode = GPIO_MODE_AF_PP;
  GPIO_InitStruct.Pull = GPIO_NOPULL;
  GPIO_InitStruct.Speed = GPIO_SPEED_FREQ_VERY_HIGH;
  GPIO_InitStruct.Alternate = GPIO_AF12_FMC;
  HAL_GPIO_Init(GPIOD, &GPIO_InitStruct);

  /*Configure GPIO pin : TE_Pin */
  GPIO_InitStruct.Pin = TE_Pin;
  GPIO_InitStruct.Mode = GPIO_MODE_INPUT;
  GPIO_InitStruct.Pull = GPIO_NOPULL;
  HAL_GPIO_Init(TE_GPIO_Port, &GPIO_InitStruct);

  /*Configure GPIO pins : RDX_Pin WRX_DCX_Pin */
  GPIO_InitStruct.Pin = RDX_Pin|WRX_DCX_Pin;
  GPIO_InitStruct.Mode = GPIO_MODE_OUTPUT_PP;
  GPIO_InitStruct.Pull = GPIO_NOPULL;
  GPIO_InitStruct.Speed = GPIO_SPEED_FREQ_LOW;
  HAL_GPIO_Init(GPIOD, &GPIO_InitStruct);

  /*Configure GPIO pins : R7_Pin DOTCLK_Pin B3_Pin */
  GPIO_InitStruct.Pin = R7_Pin|DOTCLK_Pin|B3_Pin;
  GPIO_InitStruct.Mode = GPIO_MODE_AF_PP;
  GPIO_InitStruct.Pull = GPIO_NOPULL;
  GPIO_InitStruct.Speed = GPIO_SPEED_FREQ_LOW;
  GPIO_InitStruct.Alternate = GPIO_AF14_LTDC;
  HAL_GPIO_Init(GPIOG, &GPIO_InitStruct);

  /*Configure GPIO pins : HSYNC_Pin G6_Pin R2_Pin */
  GPIO_InitStruct.Pin = HSYNC_Pin|G6_Pin|R2_Pin;
  GPIO_InitStruct.Mode = GPIO_MODE_AF_PP;
  GPIO_InitStruct.Pull = GPIO_NOPULL;
  GPIO_InitStruct.Speed = GPIO_SPEED_FREQ_LOW;
  GPIO_InitStruct.Alternate = GPIO_AF14_LTDC;
  HAL_GPIO_Init(GPIOC, &GPIO_InitStruct);

  /*Configure GPIO pins : G7_Pin B2_Pin */
  GPIO_InitStruct.Pin = G7_Pin|B2_Pin;
  GPIO_InitStruct.Mode = GPIO_MODE_AF_PP;
  GPIO_InitStruct.Pull = GPIO_NOPULL;
  GPIO_InitStruct.Speed = GPIO_SPEED_FREQ_LOW;
  GPIO_InitStruct.Alternate = GPIO_AF14_LTDC;
  HAL_GPIO_Init(GPIOD, &GPIO_InitStruct);

  /*Configure GPIO pins : G3_Pin B4_Pin */
  GPIO_InitStruct.Pin = G3_Pin|B4_Pin;
  GPIO_InitStruct.Mode = GPIO_MODE_AF_PP;
  GPIO_InitStruct.Pull = GPIO_NOPULL;
  GPIO_InitStruct.Speed = GPIO_SPEED_FREQ_LOW;
  GPIO_InitStruct.Alternate = GPIO_AF9_LTDC;
  HAL_GPIO_Init(GPIOG, &GPIO_InitStruct);

  /*Configure GPIO pins : LD3_Pin LD4_Pin */
  GPIO_InitStruct.Pin = LD3_Pin|LD4_Pin;
  GPIO_InitStruct.Mode = GPIO_MODE_OUTPUT_PP;
  GPIO_InitStruct.Pull = GPIO_NOPULL;
  GPIO_InitStruct.Speed = GPIO_SPEED_FREQ_LOW;
  HAL_GPIO_Init(GPIOG, &GPIO_InitStruct);

  /*Configure GPIO pins : SDCKE1_Pin SDNE1_Pin */
  GPIO_InitStruct.Pin = SDCKE1_Pin|SDNE1_Pin;
  GPIO_InitStruct.Mode = GPIO_MODE_AF_PP;
  GPIO_InitStruct.Pull = GPIO_NOPULL;
  GPIO_InitStruct.Speed = GPIO_SPEED_FREQ_VERY_HIGH;
  GPIO_InitStruct.Alternate = GPIO_AF12_FMC;
  HAL_GPIO_Init(GPIOB, &GPIO_InitStruct);

}

/* USER CODE BEGIN 4 */
void HAL_TIM_PeriodElapsedCallback(TIM_HandleTypeDef *htim)
{
  // Check which version of the timer triggered this callback and toggle LED
  if (htim == &htim7 )
  {
   // HAL_GPIO_TogglePin(GPIOA, GPIO_PIN_5);
	  sampleAccelFlag  =1;
  }
}

/* USER CODE END 4 */

void Error_Handler(void)
{
  __disable_irq();
  while (1)
  {
  }
}
